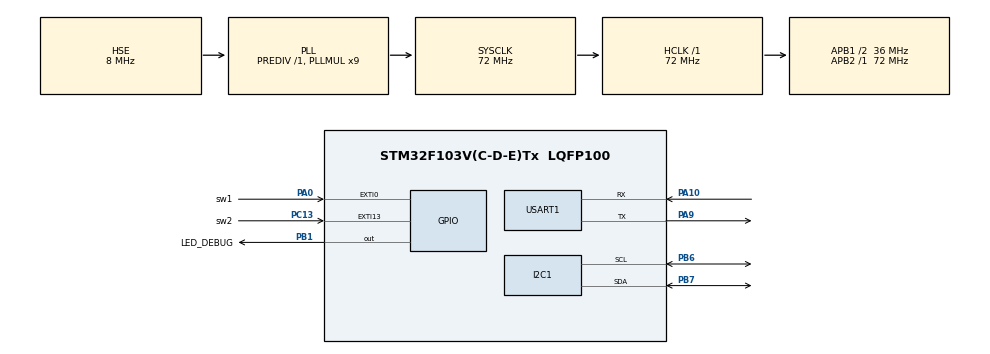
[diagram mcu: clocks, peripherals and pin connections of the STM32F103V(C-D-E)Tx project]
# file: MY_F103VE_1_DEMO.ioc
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Dma.Request0=USART1_TX
Dma.Request1=USART1_RX
Dma.USART1_RX.1.Direction=DMA_PERIPH_TO_MEMORY
Dma.USART1_RX.1.Instance=DMA1_Channel5
Dma.USART1_RX.1.MemDataAlignment=DMA_MDATAALIGN_BYTE
Dma.USART1_RX.1.MemInc=DMA_MINC_ENABLE
Dma.USART1_RX.1.Mode=DMA_NORMAL
Dma.USART1_RX.1.PeriphDataAlignment=DMA_PDATAALIGN_BYTE
Dma.USART1_RX.1.PeriphInc=DMA_PINC_DISABLE
Dma.USART1_RX.1.Priority=DMA_PRIORITY_LOW
Dma.USART1_TX.0.Direction=DMA_MEMORY_TO_PERIPH
Dma.USART1_TX.0.Instance=DMA1_Channel4
Dma.USART1_TX.0.MemDataAlignment=DMA_MDATAALIGN_BYTE
Dma.USART1_TX.0.MemInc=DMA_MINC_ENABLE
Dma.USART1_TX.0.Mode=DMA_NORMAL
Dma.USART1_TX.0.PeriphDataAlignment=DMA_PDATAALIGN_BYTE
Dma.USART1_TX.0.PeriphInc=DMA_PINC_DISABLE
Dma.USART1_TX.0.Priority=DMA_PRIORITY_LOW
I2C1.I2C_Mode=I2C_Fast
Mcu.Family=STM32F1
Mcu.Name=STM32F103V(C-D-E)Tx
Mcu.Package=LQFP100
NVIC.DMA1_Channel4_IRQn=true\:0\:0\:false\:false\:true\:false\:true\:true
NVIC.DMA1_Channel5_IRQn=true\:0\:0\:false\:false\:true\:false\:true\:true
NVIC.EXTI0_IRQn=true\:0\:0\:false\:false\:true\:true\:true\:true
NVIC.EXTI15_10_IRQn=true\:0\:0\:false\:false\:true\:true\:true\:true
NVIC.PriorityGroup=NVIC_PRIORITYGROUP_4
NVIC.USART1_IRQn=true\:0\:0\:false\:false\:true\:true\:true\:true
OSC_IN.Mode=HSE-External-Oscillator
OSC_IN.Signal=RCC_OSC_IN
OSC_OUT.Mode=HSE-External-Oscillator
OSC_OUT.Signal=RCC_OSC_OUT
PA0-WKUP.GPIO_Label=sw1
PA0-WKUP.GPIO_ModeDefaultEXTI=GPIO_MODE_IT_RISING_FALLING
PA0-WKUP.GPIO_PuPd=GPIO_PULLUP
PA0-WKUP.Signal=GPXTI0
PA10.Mode=Asynchronous
PA10.Signal=USART1_RX
PA9.Mode=Asynchronous
PA9.Signal=USART1_TX
PB1.GPIO_Label=LED_DEBUG
PB1.PinState=GPIO_PIN_SET
PB1.Signal=GPIO_Output
PB6.Mode=I2C
PB6.Signal=I2C1_SCL
PB7.Mode=I2C
PB7.Signal=I2C1_SDA
PC13-TAMPER-RTC.GPIO_Label=sw2
PC13-TAMPER-RTC.GPIO_ModeDefaultEXTI=GPIO_MODE_IT_RISING_FALLING
PC13-TAMPER-RTC.GPIO_PuPd=GPIO_PULLUP
PC13-TAMPER-RTC.Signal=GPXTI13
ProjectManager.HeapSize=0x200
ProjectManager.StackSize=0x400
ProjectManager.TargetToolchain=MDK-ARM V5.32
RCC.AHBFreq_Value=72000000
RCC.APB1CLKDivider=RCC_HCLK_DIV2
RCC.APB1Freq_Value=36000000
RCC.APB1TimFreq_Value=72000000
RCC.APB2Freq_Value=72000000
RCC.APB2TimFreq_Value=72000000
RCC.HCLKFreq_Value=72000000
RCC.PLLMUL=RCC_PLL_MUL9
RCC.PLLSourceVirtual=RCC_PLLSOURCE_HSE
RCC.SYSCLKFreq_VALUE=72000000
RCC.SYSCLKSource=RCC_SYSCLKSOURCE_PLLCLK
RCC.USBFreq_Value=72000000
USART1.VirtualMode=VM_ASYNC
VP_SYS_VS_ND.Mode=No_Debug
board=custom

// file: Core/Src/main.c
/* USER CODE BEGIN Header */
/**
  ******************************************************************************
  * @file           : main.c
  * @brief          : Main program body
  ******************************************************************************
  * @attention
  *
  * Copyright (c) 2024 STMicroelectronics.
  * All rights reserved.
  *
  * This software is licensed under terms that can be found in the LICENSE file
  * in the root directory of this software component.
  * If no LICENSE file comes with this software, it is provided AS-IS.
  *
  ******************************************************************************
  */
/* USER CODE END Header */
#include "main.h"

/* USER CODE BEGIN Includes */
#include "ws_drive_borad.h"
#include "ws_drive_dwt.h"
/* USER CODE END Includes */

I2C_HandleTypeDef hi2c1;

UART_HandleTypeDef huart1;
DMA_HandleTypeDef hdma_usart1_tx;
DMA_HandleTypeDef hdma_usart1_rx;

/* USER CODE BEGIN PV */
uint8_t uart1RxBuffer[128];
uint8_t uart1RxDat = 0;
uint16_t uart1RxCount = 0;
uint8_t uart1RxTimeout = 0;
/* USER CODE END PV */

void SystemClock_Config(void);
static void MX_GPIO_Init(void);
static void MX_DMA_Init(void);
static void MX_USART1_UART_Init(void);
static void MX_I2C1_Init(void);

/* USER CODE BEGIN 0 */
void HAL_UART_RxCpltCallback(UART_HandleTypeDef *huart)
{
  /* Prevent unused argument(s) compilation warning */
  UNUSED(huart);
  /* NOTE: This function should not be modified, when the callback is needed,
           the HAL_UART_RxCpltCallback could be implemented in the user file
   */
	if(huart == &huart1)
	{
//		HAL_UART_Transmit_IT(&huart1,uart1RxBuffer,1);
		uart1RxBuffer[uart1RxCount ++] = uart1RxDat;
		if(uart1RxCount >= sizeof(uart1RxBuffer))
		{
			uart1RxCount = sizeof(uart1RxBuffer) - 1;
		}
		uart1RxTimeout = 1; //超时为1
		HAL_UART_Receive_IT(&huart1,&uart1RxDat,1);
	}
}

void HAL_UART_TxCpltCallback(UART_HandleTypeDef *huart)
{
  /* Prevent unused argument(s) compilation warning */
  UNUSED(huart);
  /* NOTE: This function should not be modified, when the callback is needed,
           the HAL_UART_TxCpltCallback could be implemented in the user file
   */

}

/* USER CODE END 0 */

int main(void)
{

  /* MCU Configuration--------------------------------------------------------*/

  /* Reset of all peripherals, Initializes the Flash interface and the Systick. */
  HAL_Init();

  /* Configure the system clock */
  SystemClock_Config();

  /* Initialize all configured peripherals */
  MX_GPIO_Init();
  MX_DMA_Init();
  MX_USART1_UART_Init();
  MX_I2C1_Init();
  /* USER CODE BEGIN 2 */
  WS_DWT_Get_Tick_Dt(0,0);
  //WS_Debug("HCLK = %d\r\n",SystemCoreClock);
  uint32_t tick = WS_DWT_Get_Tick_Dt(0,1);
  HAL_Delay(2);
  //WS_Debug("print time  = %d us\r\n",tick/72);

  HAL_UART_Receive_IT(&huart1,&uart1RxDat,1);

  WS_OS_Init_Task();// 初始化任务函数

	WS_OS_Create_Task(1,WS_OS_Task_KeyBorad,100);
	WS_OS_Create_Task(2,WS_OS_Task_B,73);
  /* USER CODE END 2 */

  /* Infinite loop */
  /* USER CODE BEGIN WHILE */
  while (1)
  {
	WS_OS_Run_Task();

	HAL_Delay(1); //延时一下
  }
    /* USER CODE END WHILE */

}

void SystemClock_Config(void)
{
  RCC_OscInitTypeDef RCC_OscInitStruct = {0};
  RCC_ClkInitTypeDef RCC_ClkInitStruct = {0};

  /** Initializes the RCC Oscillators according to the specified parameters
  * in the RCC_OscInitTypeDef structure.
  */
  RCC_OscInitStruct.OscillatorType = RCC_OSCILLATORTYPE_HSE;
  RCC_OscInitStruct.HSEState = RCC_HSE_ON;
  RCC_OscInitStruct.HSEPredivValue = RCC_HSE_PREDIV_DIV1;
  RCC_OscInitStruct.HSIState = RCC_HSI_ON;
  RCC_OscInitStruct.PLL.PLLState = RCC_PLL_ON;
  RCC_OscInitStruct.PLL.PLLSource = RCC_PLLSOURCE_HSE;
  RCC_OscInitStruct.PLL.PLLMUL = RCC_PLL_MUL9;
  if (HAL_RCC_OscConfig(&RCC_OscInitStruct) != HAL_OK)
  {
    Error_Handler();
  }

  /** Initializes the CPU, AHB and APB buses clocks
  */
  RCC_ClkInitStruct.ClockType = RCC_CLOCKTYPE_HCLK|RCC_CLOCKTYPE_SYSCLK
                              |RCC_CLOCKTYPE_PCLK1|RCC_CLOCKTYPE_PCLK2;
  RCC_ClkInitStruct.SYSCLKSource = RCC_SYSCLKSOURCE_PLLCLK;
  RCC_ClkInitStruct.AHBCLKDivider = RCC_SYSCLK_DIV1;
  RCC_ClkInitStruct.APB1CLKDivider = RCC_HCLK_DIV2;
  RCC_ClkInitStruct.APB2CLKDivider = RCC_HCLK_DIV1;

  if (HAL_RCC_ClockConfig(&RCC_ClkInitStruct, FLASH_LATENCY_2) != HAL_OK)
  {
    Error_Handler();
  }
}

static void MX_I2C1_Init(void)
{

  hi2c1.Instance = I2C1;
  hi2c1.Init.ClockSpeed = 400000;
  hi2c1.Init.DutyCycle = I2C_DUTYCYCLE_2;
  hi2c1.Init.OwnAddress1 = 0;
  hi2c1.Init.AddressingMode = I2C_ADDRESSINGMODE_7BIT;
  hi2c1.Init.DualAddressMode = I2C_DUALADDRESS_DISABLE;
  hi2c1.Init.OwnAddress2 = 0;
  hi2c1.Init.GeneralCallMode = I2C_GENERALCALL_DISABLE;
  hi2c1.Init.NoStretchMode = I2C_NOSTRETCH_DISABLE;
  if (HAL_I2C_Init(&hi2c1) != HAL_OK)
  {
    Error_Handler();
  }

}

static void MX_USART1_UART_Init(void)
{

  huart1.Instance = USART1;
  huart1.Init.BaudRate = 115200;
  huart1.Init.WordLength = UART_WORDLENGTH_8B;
  huart1.Init.StopBits = UART_STOPBITS_1;
  huart1.Init.Parity = UART_PARITY_NONE;
  huart1.Init.Mode = UART_MODE_TX_RX;
  huart1.Init.HwFlowCtl = UART_HWCONTROL_NONE;
  huart1.Init.OverSampling = UART_OVERSAMPLING_16;
  if (HAL_UART_Init(&huart1) != HAL_OK)
  {
    Error_Handler();
  }

}

static void MX_DMA_Init(void)
{

  /* DMA controller clock enable */
  __HAL_RCC_DMA1_CLK_ENABLE();

  /* DMA interrupt init */
  /* DMA1_Channel4_IRQn interrupt configuration */
  HAL_NVIC_SetPriority(DMA1_Channel4_IRQn, 0, 0);
  HAL_NVIC_EnableIRQ(DMA1_Channel4_IRQn);
  /* DMA1_Channel5_IRQn interrupt configuration */
  HAL_NVIC_SetPriority(DMA1_Channel5_IRQn, 0, 0);
  HAL_NVIC_EnableIRQ(DMA1_Channel5_IRQn);

}

static void MX_GPIO_Init(void)
{
  GPIO_InitTypeDef GPIO_InitStruct = {0};

  /* GPIO Ports Clock Enable */
  __HAL_RCC_GPIOC_CLK_ENABLE();
  __HAL_RCC_GPIOA_CLK_ENABLE();
  __HAL_RCC_GPIOB_CLK_ENABLE();

  /*Configure GPIO pin Output Level */
  HAL_GPIO_WritePin(LED_DEBUG_GPIO_Port, LED_DEBUG_Pin, GPIO_PIN_SET);

  /*Configure GPIO pin : sw2_Pin */
  GPIO_InitStruct.Pin = sw2_Pin;
  GPIO_InitStruct.Mode = GPIO_MODE_IT_RISING_FALLING;
  GPIO_InitStruct.Pull = GPIO_PULLUP;
  HAL_GPIO_Init(sw2_GPIO_Port, &GPIO_InitStruct);

  /*Configure GPIO pin : sw1_Pin */
  GPIO_InitStruct.Pin = sw1_Pin;
  GPIO_InitStruct.Mode = GPIO_MODE_IT_RISING_FALLING;
  GPIO_InitStruct.Pull = GPIO_PULLUP;
  HAL_GPIO_Init(sw1_GPIO_Port, &GPIO_InitStruct);

  /*Configure GPIO pin : LED_DEBUG_Pin */
  GPIO_InitStruct.Pin = LED_DEBUG_Pin;
  GPIO_InitStruct.Mode = GPIO_MODE_OUTPUT_PP;
  GPIO_InitStruct.Pull = GPIO_NOPULL;
  GPIO_InitStruct.Speed = GPIO_SPEED_FREQ_LOW;
  HAL_GPIO_Init(LED_DEBUG_GPIO_Port, &GPIO_InitStruct);

  /* EXTI interrupt init*/
  HAL_NVIC_SetPriority(EXTI0_IRQn, 0, 0);
  HAL_NVIC_EnableIRQ(EXTI0_IRQn);

  HAL_NVIC_SetPriority(EXTI15_10_IRQn, 0, 0);
  HAL_NVIC_EnableIRQ(EXTI15_10_IRQn);

}

void Error_Handler(void)
{
  __disable_irq();
  while (1)
  {
  }
}
